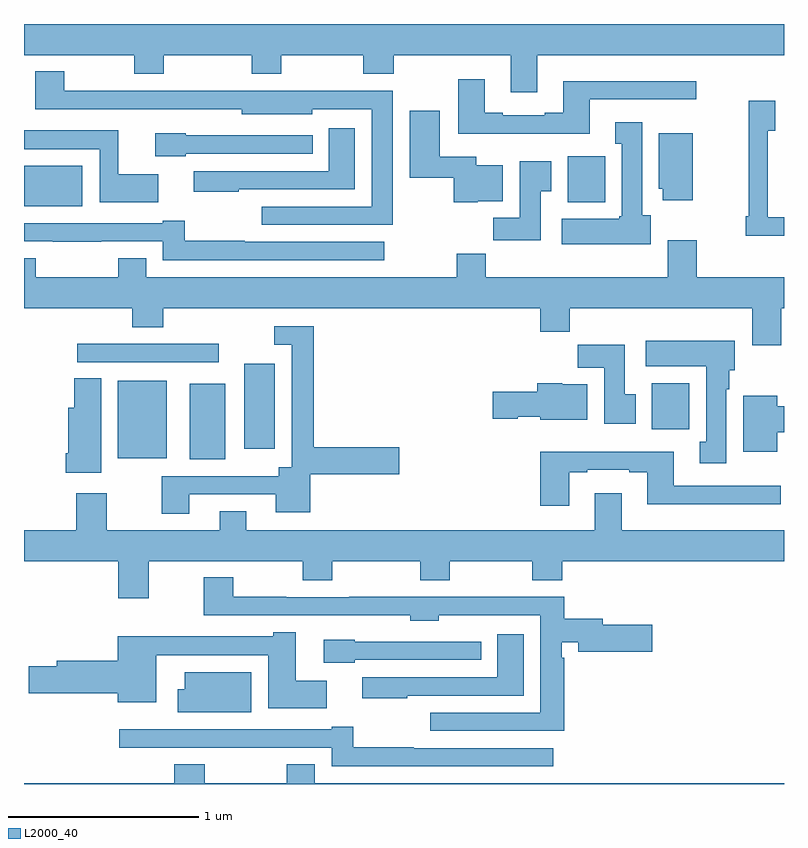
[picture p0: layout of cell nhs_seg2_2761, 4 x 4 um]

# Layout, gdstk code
import gdstk
lib = gdstk.Library(unit=1e-6, precision=1e-09)
def R(c, l, rs):  # rectangles x0, y0, x1, y1
    for r in rs: c.add(gdstk.rectangle(r[:2], r[2:], *l))
def P(c, l, *ps):  # polygons
    for p in ps: c.add(gdstk.Polygon(p, *l))
L2000_40 = (2000, 40)

nhs_seg2_2761 = lib.new_cell('nhs_seg2_2761')
R(nhs_seg2_2761, L2000_40, [(255.872,645.509,256.06,645.907), (255.494,645.515,255.751,645.922), (256.16,645.564,256.321,646.012), (258.305,645.668,258.502,645.91), (255.279,646.02,256.024,646.116), (255,646.841,255.307,647.053), (257.861,646.862,258.058,647.104)])
P(nhs_seg2_2761, L2000_40, [(257.701,647.636),(259,647.636),(259,647.8),(255,647.8),(255,647.636),(255.58,647.636),(255.58,647.537),(255.735,647.537),(255.735,647.636),(256.198,647.636),(256.198,647.537),(256.353,647.537),(256.353,647.636),(256.786,647.636),(256.786,647.537),(256.946,647.537),(256.946,647.636),(257.561,647.636),(257.561,647.442),(257.701,647.442)],
  [(256.942,647.45),(256.518,647.45),(256.518,647.448),(256.146,647.448),(256.146,647.45),(255.823,647.45),(255.823,647.448),(255.491,647.448),(255.491,647.45),(255.213,647.45),(255.213,647.551),(255.058,647.551),(255.058,647.352),(256.146,647.352),(256.146,647.324),(256.518,647.324),(256.518,647.352),(256.829,647.352),(256.829,646.839),(256.251,646.839),(256.251,646.743),(256.942,646.743)],
  [(257.977,647.403),(258.538,647.403),(258.538,647.5),(257.837,647.5),(257.837,647.332),(257.741,647.332),(257.741,647.319),(257.521,647.319),(257.521,647.332),(257.425,647.332),(257.425,647.509),(257.285,647.509),(257.285,647.222),(257.977,647.222)],
  [(259,646.782),(258.915,646.782),(258.915,647.239),(258.955,647.239),(258.955,647.395),(258.814,647.395),(258.814,646.789),(258.799,646.789),(258.799,646.685),(259,646.685)],
  [(257.388,646.868),(257.521,646.868),(257.521,647.056),(257.38,647.056),(257.38,647.101),(257.188,647.101),(257.188,647.344),(257.03,647.344),(257.03,646.991),(257.263,646.991),(257.263,646.862),(257.388,646.862)],
  [(258.298,646.794),(258.253,646.794),(258.253,647.284),(258.113,647.284),(258.113,647.171),(258.146,647.171),(258.146,646.788),(258.133,646.788),(258.133,646.774),(257.829,646.774),(257.829,646.64),(258.298,646.64)],
  [(256.129,646.929),(256.741,646.929),(256.741,647.251),(256.604,647.251),(256.604,647.025),(255.893,647.025),(255.893,646.916),(256.129,646.916)],
  [(255.706,647.008),(255.497,647.008),(255.497,647.242),(255,647.242),(255,647.141),(255.399,647.141),(255.399,646.862),(255.706,646.862)],
  [(258.52,647.224),(258.341,647.224),(258.341,646.932),(258.362,646.932),(258.362,646.872),(258.52,646.872)],
  [(255.852,647.118),(256.519,647.118),(256.519,647.214),(255.852,647.214),(255.852,647.224),(255.69,647.224),(255.69,647.103),(255.852,647.103)],
  [(257.719,646.921),(257.776,646.921),(257.776,647.077),(257.609,647.077),(257.609,646.78),(257.47,646.78),(257.47,646.662),(257.719,646.662)],
  [(256.897,646.653),(256.163,646.653),(256.163,646.658),(255.845,646.658),(255.845,646.765),(255.731,646.765),(255.731,646.752),(255,646.752),(255,646.656),(255.151,646.656),(255.151,646.655),(255.407,646.655),(255.407,646.656),(255.731,646.656),(255.731,646.557),(256.897,646.557)],
  [(258.986,646.304),(259,646.304),(259,646.468),(258.541,646.468),(258.541,646.663),(258.389,646.663),(258.389,646.468),(257.429,646.468),(257.429,646.592),(257.278,646.592),(257.278,646.468),(255.643,646.468),(255.643,646.567),(255.496,646.567),(255.496,646.468),(255.063,646.468),(255.063,646.567),(255,646.567),(255,646.304),(255.569,646.304),(255.569,646.205),(255.734,646.205),(255.734,646.304),(257.717,646.304),(257.717,646.18),(257.873,646.18),(257.873,646.304),(258.833,646.304),(258.833,646.11),(258.986,646.11)],
  [(255.871,645.324),(256.325,645.324),(256.325,645.23),(256.507,645.23),(256.507,645.43),(256.975,645.43),(256.975,645.572),(256.526,645.572),(256.526,646.209),(256.317,646.209),(256.317,646.113),(256.41,646.113),(256.41,645.466),(256.34,645.466),(256.34,645.42),(255.724,645.42),(255.724,645.222),(255.871,645.222)],
  [(258.697,645.878),(258.712,645.878),(258.712,645.978),(258.742,645.978),(258.742,646.132),(258.273,646.132),(258.273,645.998),(258.59,645.998),(258.59,645.602),(258.557,645.602),(258.557,645.489),(258.697,645.489)],
  [(258.22,645.852),(258.163,645.852),(258.163,646.111),(257.914,646.111),(257.914,645.992),(258.053,645.992),(258.053,645.696),(258.22,645.696)],
  [(255.406,645.935),(255.265,645.935),(255.265,645.781),(255.233,645.781),(255.233,645.541),(255.221,645.541),(255.221,645.437),(255.406,645.437)],
  [(257.965,645.904),(257.832,645.904),(257.832,645.91),(257.702,645.91),(257.702,645.864),(257.466,645.864),(257.466,645.722),(257.598,645.722),(257.598,645.734),(257.718,645.734),(257.718,645.716),(257.965,645.716)],
  [(258.964,645.652),(259,645.652),(259,645.788),(258.964,645.788),(258.964,645.844),(258.785,645.844),(258.785,645.548),(258.964,645.548)],
  [(257.869,645.441),(257.965,645.441),(257.965,645.453),(258.185,645.453),(258.185,645.441),(258.281,645.441),(258.281,645.272),(258.982,645.272),(258.982,645.369),(258.421,645.369),(258.421,645.55),(257.717,645.55),(257.717,645.264),(257.869,645.264)],
  [(256.171,645.235),(256.031,645.235),(256.031,645.136),(255.435,645.136),(255.435,645.331),(255.275,645.331),(255.275,645.136),(255,645.136),(255,644.972),(255.497,644.972),(255.497,644.778),(255.657,644.778),(255.657,644.972),(256.468,644.972),(256.468,644.873),(256.623,644.873),(256.623,644.972),(257.086,644.972),(257.086,644.873),(257.241,644.873),(257.241,644.972),(257.674,644.972),(257.674,644.873),(257.834,644.873),(257.834,644.972),(259,644.972),(259,645.136),(258.145,645.136),(258.145,645.331),(258.005,645.331),(258.005,645.136),(256.171,645.136)],
  [(257.843,644.465),(257.83,644.465),(257.83,644.546),(257.918,644.546),(257.918,644.495),(258.307,644.495),(258.307,644.637),(258.046,644.637),(258.046,644.671),(257.843,644.671),(257.843,644.786),(256.711,644.786),(256.711,644.784),(256.379,644.784),(256.379,644.786),(256.101,644.786),(256.101,644.887),(255.946,644.887),(255.946,644.688),(257.034,644.688),(257.034,644.66),(257.184,644.66),(257.184,644.687),(257.396,644.687),(257.396,644.688),(257.717,644.688),(257.717,644.175),(257.139,644.175),(257.139,644.079),(257.843,644.079)],
  [(256.594,644.344),(256.429,644.344),(256.429,644.599),(256.311,644.599),(256.311,644.578),(255.494,644.578),(255.494,644.45),(255.173,644.45),(255.173,644.42),(255.024,644.42),(255.024,644.278),(255.494,644.278),(255.494,644.231),(255.697,644.231),(255.697,644.477),(256.286,644.477),(256.286,644.198),(256.594,644.198)],
  [(257.017,644.265),(257.629,644.265),(257.629,644.587),(257.492,644.587),(257.492,644.361),(256.781,644.361),(256.781,644.252),(257.017,644.252)],
  [(256.74,644.454),(257.407,644.454),(257.407,644.55),(256.74,644.55),(256.74,644.56),(256.578,644.56),(256.578,644.439),(256.74,644.439)],
  [(256.195,644.389),(255.845,644.389),(255.845,644.299),(255.809,644.299),(255.809,644.177),(256.195,644.177)],
  [(257.785,643.989),(257.051,643.989),(257.051,643.994),(256.733,643.994),(256.733,644.101),(256.619,644.101),(256.619,644.088),(255.713,644.088),(255.713,644.089),(255.501,644.089),(255.501,643.992),(256.039,643.992),(256.039,643.991),(256.295,643.991),(256.295,643.992),(256.619,643.992),(256.619,643.893),(257.785,643.893)],
  [(259,643.804),(256.531,643.804),(256.531,643.903),(256.384,643.903),(256.384,643.804),(255.951,643.804),(255.951,643.903),(255.791,643.903),(255.791,643.804),(255,643.804),(255,643.8),(259,643.8)])

lib.write_gds('nhs_seg2_2761.gds')
